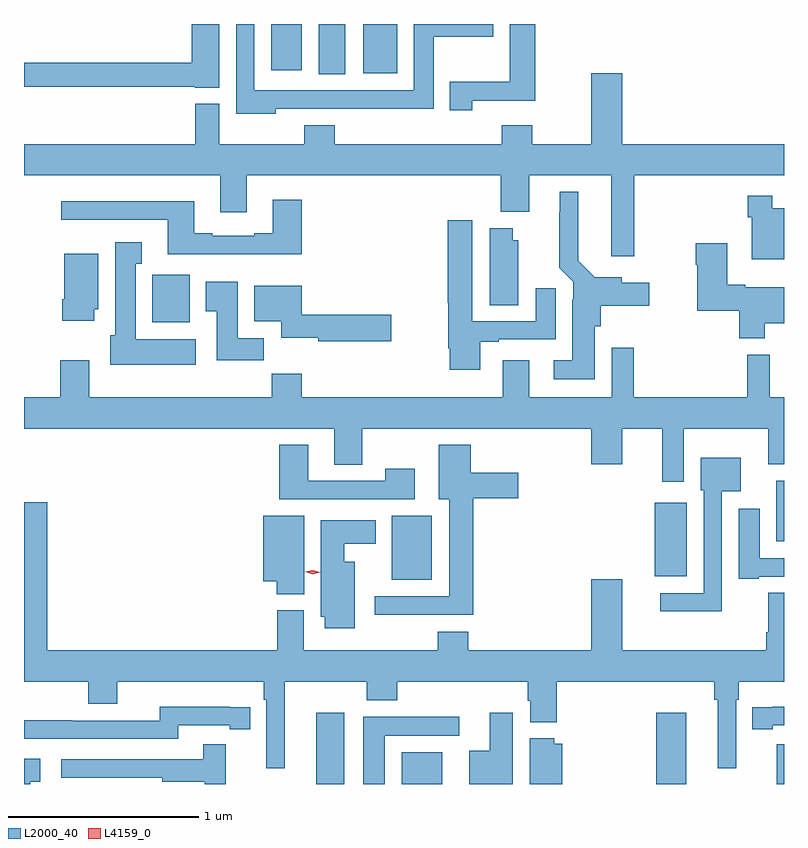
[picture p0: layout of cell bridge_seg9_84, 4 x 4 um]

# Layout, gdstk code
import gdstk
lib = gdstk.Library(unit=1e-6, precision=1e-09)
def R(c, l, rs):  # rectangles x0, y0, x1, y1
    for r in rs: c.add(gdstk.rectangle(r[:2], r[2:], *l))
def P(c, l, *ps):  # polygons
    for p in ps: c.add(gdstk.Polygon(p, *l))
L2000_40 = (2000, 40)
L4159_0 = (4159, 0)

bridge_seg9_84 = lib.new_cell('bridge_seg9_84')
R(bridge_seg9_84, L2000_40, [(882.842,1241.169,882.988,1241.545), (883.292,1241.169,883.504,1241.335), (884.63,1241.169,884.788,1241.545), (885.266,1241.169,885.303,1241.377), (883.238,1242.245,883.45,1242.58), (884.624,1242.263,884.791,1242.649), (885.263,1242.446,885.303,1242.766), (881.979,1243.598,882.175,1243.848), (882.854,1244.905,882.994,1245.169), (883.088,1244.909,883.267,1245.169), (882.605,1244.925,882.766,1245.169)])
P(bridge_seg9_84, L2000_40, [(882.627,1244.724),(883.021,1244.724),(883.021,1244.723),(883.459,1244.723),(883.459,1245.103),(883.774,1245.103),(883.774,1245.169),(883.355,1245.169),(883.355,1244.82),(882.516,1244.82),(882.516,1245.169),(882.42,1245.169),(882.42,1244.696),(882.627,1244.696)],
  [(883.662,1244.765),(883.994,1244.765),(883.994,1245.169),(883.859,1245.169),(883.859,1244.865),(883.544,1244.865),(883.544,1244.715),(883.662,1244.715)],
  [(882.331,1245.169),(882.185,1245.169),(882.185,1244.966),(881.303,1244.966),(881.303,1244.838),(882.201,1244.838),(882.201,1244.834),(882.331,1244.834)],
  [(884.452,1244.911),(884.288,1244.911),(884.288,1244.536),(883.977,1244.536),(883.977,1244.635),(883.817,1244.635),(883.817,1244.536),(882.938,1244.536),(882.938,1244.635),(882.778,1244.635),(882.778,1244.536),(882.331,1244.536),(882.331,1244.749),(882.203,1244.749),(882.203,1244.536),(881.303,1244.536),(881.303,1244.372),(882.335,1244.372),(882.335,1244.178),(882.475,1244.178),(882.475,1244.372),(883.811,1244.372),(883.811,1244.18),(883.963,1244.18),(883.963,1244.372),(884.393,1244.372),(884.393,1243.947),(884.516,1243.947),(884.516,1244.372),(885.303,1244.372),(885.303,1244.536),(884.452,1244.536)],
  [(884.308,1243.578),(884.339,1243.578),(884.339,1243.685),(884.593,1243.685),(884.593,1243.807),(884.449,1243.807),(884.449,1243.837),(884.307,1243.837),(884.221,1243.924),(884.221,1244.287),(884.123,1244.287),(884.123,1244.177),(884.119,1244.177),(884.119,1243.886),(884.193,1243.812),(884.193,1243.718),(884.189,1243.718),(884.189,1243.399),(884.091,1243.399),(884.091,1243.298),(884.308,1243.298)],
  [(885.303,1244.2),(885.241,1244.2),(885.241,1244.266),(885.112,1244.266),(885.112,1244.153),(885.132,1244.153),(885.132,1243.931),(885.303,1243.931)],
  [(882.764,1244.245),(882.611,1244.245),(882.611,1244.068),(882.515,1244.068),(882.515,1244.055),(882.295,1244.055),(882.295,1244.068),(882.199,1244.068),(882.199,1244.236),(881.499,1244.236),(881.499,1244.139),(882.059,1244.139),(882.059,1243.958),(882.764,1243.958)],
  [(883.705,1243.497),(883.801,1243.497),(883.801,1243.509),(884.101,1243.509),(884.101,1243.777),(883.997,1243.777),(883.997,1243.605),(883.663,1243.605),(883.663,1244.137),(883.532,1244.137),(883.532,1243.702),(883.537,1243.702),(883.537,1243.462),(883.544,1243.462),(883.544,1243.35),(883.705,1243.35)],
  [(883.903,1244.031),(883.876,1244.031),(883.876,1244.095),(883.754,1244.095),(883.754,1243.69),(883.903,1243.69)],
  [(882.208,1243.51),(881.89,1243.51),(881.89,1243.907),(881.923,1243.907),(881.923,1244.02),(881.783,1244.02),(881.783,1243.53),(881.756,1243.53),(881.756,1243.376),(882.208,1243.376)],
  [(885.202,1243.595),(885.303,1243.595),(885.303,1243.783),(885.1,1243.783),(885.1,1243.796),(885.004,1243.796),(885.004,1244.014),(884.839,1244.014),(884.839,1243.901),(884.846,1243.901),(884.846,1243.661),(885.068,1243.661),(885.068,1243.514),(885.202,1243.514)],
  [(881.674,1243.668),(881.695,1243.668),(881.695,1243.96),(881.516,1243.96),(881.516,1243.72),(881.504,1243.72),(881.504,1243.608),(881.674,1243.608)],
  [(882.566,1243.516),(882.427,1243.516),(882.427,1243.813),(882.26,1243.813),(882.26,1243.657),(882.317,1243.657),(882.317,1243.398),(882.566,1243.398)],
  [(883.237,1243.64),(882.766,1243.64),(882.766,1243.792),(882.515,1243.792),(882.515,1243.604),(882.656,1243.604),(882.656,1243.517),(882.852,1243.517),(882.852,1243.498),(883.237,1243.498)],
  [(884.776,1243.04),(885.221,1243.04),(885.221,1242.851),(885.303,1242.851),(885.303,1243.204),(885.227,1243.204),(885.227,1243.429),(885.109,1243.429),(885.109,1243.204),(884.513,1243.204),(884.513,1243.465),(884.397,1243.465),(884.397,1243.204),(883.963,1243.204),(883.963,1243.399),(883.823,1243.399),(883.823,1243.204),(882.764,1243.204),(882.764,1243.328),(882.607,1243.328),(882.607,1243.204),(881.647,1243.204),(881.647,1243.399),(881.495,1243.399),(881.495,1243.204),(881.303,1243.204),(881.303,1243.04),(882.935,1243.04),(882.935,1242.85),(883.083,1242.85),(883.083,1243.04),(884.288,1243.04),(884.288,1242.852),(884.452,1242.852),(884.452,1243.04),(884.663,1243.04),(884.663,1242.759),(884.776,1242.759)],
  [(883.667,1242.674),(883.903,1242.674),(883.903,1242.808),(883.654,1242.808),(883.654,1242.955),(883.487,1242.955),(883.487,1242.668),(883.541,1242.668),(883.541,1242.156),(883.149,1242.156),(883.149,1242.059),(883.667,1242.059)],
  [(883.36,1242.829),(883.204,1242.829),(883.204,1242.765),(882.799,1242.765),(882.799,1242.955),(882.647,1242.955),(882.647,1242.669),(883.36,1242.669)],
  [(884.976,1242.71),(885.076,1242.71),(885.076,1242.886),(884.864,1242.886),(884.864,1242.714),(884.88,1242.714),(884.88,1242.174),(884.652,1242.174),(884.652,1242.077),(884.976,1242.077)],
  [(883.108,1241.609),(883.268,1241.609),(883.268,1241.708),(883.955,1241.708),(883.955,1241.607),(883.967,1241.607),(883.967,1241.495),(884.108,1241.495),(884.108,1241.708),(884.935,1241.708),(884.935,1241.612),(884.954,1241.612),(884.954,1241.253),(885.051,1241.253),(885.051,1241.612),(885.065,1241.612),(885.065,1241.708),(885.303,1241.708),(885.303,1242.176),(885.221,1242.176),(885.221,1241.968),(885.209,1241.968),(885.209,1241.872),(884.452,1241.872),(884.452,1242.247),(884.288,1242.247),(884.288,1241.872),(883.64,1241.872),(883.64,1241.971),(883.48,1241.971),(883.48,1241.872),(882.775,1241.872),(882.775,1242.084),(882.635,1242.084),(882.635,1241.872),(881.426,1241.872),(881.426,1242.652),(881.303,1242.652),(881.303,1241.708),(881.642,1241.708),(881.642,1241.591),(881.794,1241.591),(881.794,1241.708),(882.566,1241.708),(882.566,1241.612),(882.579,1241.612),(882.579,1241.253),(882.676,1241.253),(882.676,1241.708),(883.108,1241.708)],
  [(885.169,1242.261),(885.303,1242.261),(885.303,1242.357),(885.175,1242.357),(885.175,1242.619),(885.065,1242.619),(885.065,1242.249),(885.169,1242.249)],
  [(882.778,1242.58),(882.563,1242.58),(882.563,1242.236),(882.632,1242.236),(882.632,1242.169),(882.778,1242.169)],
  [(883.045,1242.34),(882.988,1242.34),(882.988,1242.434),(883.153,1242.434),(883.153,1242.556),(882.866,1242.556),(882.866,1242.048),(882.887,1242.048),(882.887,1241.988),(883.045,1241.988)],
  [(885.244,1241.478),(885.303,1241.478),(885.303,1241.575),(885.244,1241.575),(885.244,1241.574),(885.136,1241.574),(885.136,1241.458),(885.244,1241.458)],
  [(882.114,1241.478),(882.386,1241.478),(882.386,1241.458),(882.494,1241.458),(882.494,1241.574),(882.386,1241.574),(882.386,1241.575),(882.018,1241.575),(882.018,1241.502),(881.558,1241.502),(881.558,1241.504),(881.303,1241.504),(881.303,1241.406),(882.114,1241.406)],
  [(883.876,1241.545),(883.754,1241.545),(883.754,1241.344),(883.646,1241.344),(883.646,1241.169),(883.876,1241.169)],
  [(883.201,1241.424),(883.594,1241.424),(883.594,1241.522),(883.088,1241.522),(883.088,1241.169),(883.201,1241.169)],
  [(884.135,1241.382),(884.094,1241.382),(884.094,1241.41),(883.964,1241.41),(883.964,1241.169),(884.135,1241.169)],
  [(882.365,1241.377),(882.247,1241.377),(882.247,1241.298),(881.499,1241.298),(881.499,1241.202),(882.031,1241.202),(882.031,1241.182),(882.255,1241.182),(882.255,1241.169),(882.365,1241.169)],
  [(881.336,1241.181),(881.389,1241.181),(881.389,1241.302),(881.303,1241.302),(881.303,1241.169),(881.336,1241.169)])
P(bridge_seg9_84, L4159_0, [(882.822,1242.274),(882.783,1242.285),(882.783,1242.285),(882.783,1242.285),(882.823,1242.294),(882.862,1242.283),(882.862,1242.283),(882.862,1242.283)])

lib.write_gds('bridge_seg9_84.gds')
